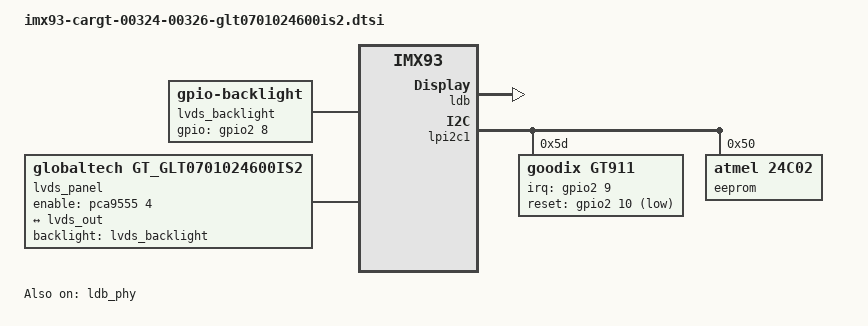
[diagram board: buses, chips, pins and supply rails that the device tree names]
 / {
	 lvds_backlight: lvds_backlight {
		 compatible = "gpio-backlight";
		 pinctrl-names = "default";
		 pinctrl-0 = <&pinctrl_backlight_lvds>;
		 gpios = <&gpio2 8 GPIO_ACTIVE_HIGH>;
		 default-on;
		 status = "okay";
	 };
 
	 lvds_panel {		
		 compatible = "globaltech,gt_GLT0701024600IS2";
		 backlight = <&lvds_backlight>;
		 enable-gpios = <&pca9555 4 GPIO_ACTIVE_HIGH>; 
 
		 port {
			 panel_lvds_in: endpoint {
				 remote-endpoint = <&lvds_out>;
			 };
		 };
	 };
	 
 };
 
 &dphy {
	 status = "disabled";
 };
 
 &dsi {
	 status = "disabled";
 };
 
 &lcdif {
	 assigned-clock-rates = <300000000>, <121000000>, <400000000>, <133333333>;
 };
 
 &ldb {
	 status = "okay";
 
	 lvds-channel@0 {
		 status = "okay";
 
		 port@1 {
			 reg = <1>;
 
			 lvds_out: endpoint {
				 remote-endpoint = <&panel_lvds_in>;
			 };
		 };
	 };
 };
 
 &ldb_phy {
	 status = "okay";
 };
 
 &lpi2c1 {
	 gt911@5d {
		 compatible = "goodix,gt911";
		 reg = <0x5d>;
		 pinctrl-0 = <&pinctrl_cap_touch>;			
		 interrupt-parent = <&gpio2>;
		 interrupts = <9 IRQ_TYPE_EDGE_FALLING>;
		 irq-gpios = <&gpio2 9 GPIO_ACTIVE_HIGH>;	//the driver uses this line to set the i2c address during initialization
		 reset-gpios = <&gpio2 10 GPIO_ACTIVE_LOW>;
		 status = "okay";
	 };	
 };
 
 &lpi2c1 {
 
	 /* eeprom on display */
	 eeprom@50 {
		 compatible = "atmel,24c02";
		 reg = <0x50>;
		 pagesize = <16>;		
	 };
 
 };
 
 
 
 &iomuxc {
 
	 pinctrl_backlight_lvds: backlight-lvds1grp {
		 fsl,pins = <
			 MX93_PAD_GPIO_IO08__GPIO2_IO08		0x31e
		 >;
	 };
 
	 pinctrl_cap_touch: cap_touch {
		 fsl,pins = <			    
			 MX93_PAD_GPIO_IO09__GPIO2_IO09 		0x31e	/* nINT */
			 MX93_PAD_GPIO_IO10__GPIO2_IO10 		0x31e	/* nRST */
			 MX93_PAD_GPIO_IO11__GPIO2_IO11 		0x31e	/* WAKE */					 	
		 >;
	 };
 
 
 };
 
 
